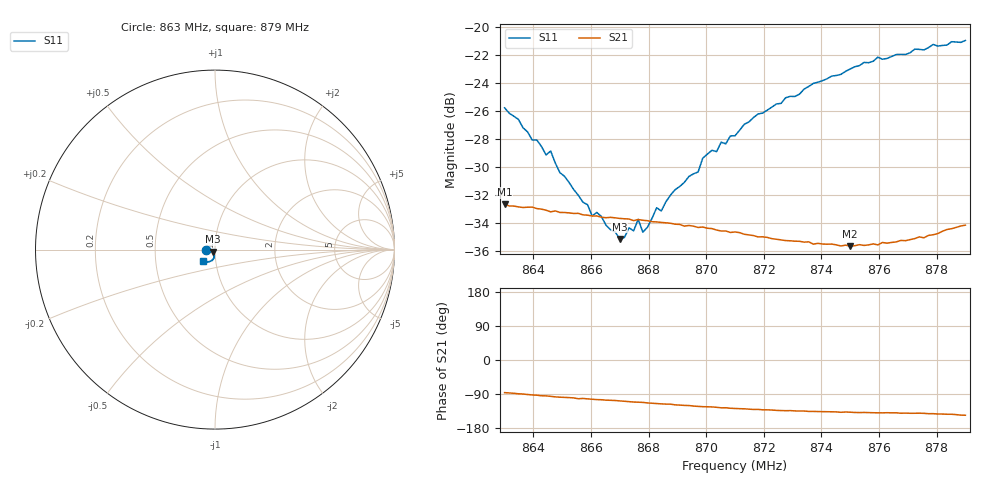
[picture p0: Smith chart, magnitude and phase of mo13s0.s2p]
# HZ S RI R 50
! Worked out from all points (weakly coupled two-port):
!   101 points, 863 MHz to 879 MHz, reference 50 ohm
!   highest |S21| = -32.64 dB at 863 MHz (marker M1); lowest = -35.6 dB at 875 MHz (marker M2)
!   lowest |S11| = -35.1 dB at 867 MHz (marker M3), VSWR 1.04, Z = 48.7 - j1.11 ohm
!   |S11| at or under -10 dB: start of sweep to end of sweep
!   S12 and S22 are empty: the file has one direction only
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8.63e8  -0.0513 -0.00373  0.00158 -0.0233  0 0  0 0
8.6444e8  -0.0349 -0.00206  -0.0018 -0.0221  0 0  0 0
8.646e8  -0.0359 -0.00375  -0.00224 -0.0218  0 0  0 0
8.6492e8  -0.03 -0.004  -0.00309 -0.0216  0 0  0 0
8.6572e8  -0.0228 -0.0067  -0.00426 -0.021  0 0  0 0
8.6604e8  -0.0202 -0.00651  -0.00497 -0.0206  0 0  0 0
8.67e8  -0.0133 -0.0115  -0.00642 -0.0197  0 0  0 0
8.6732e8  -0.0127 -0.0144  -0.00703 -0.0194  0 0  0 0
8.6748e8  -0.0105 -0.0156  -0.00727 -0.0191  0 0  0 0
8.6764e8  -0.0123 -0.0166  -0.00749 -0.0192  0 0  0 0
8.678e8  -0.00993 -0.0157  -0.00764 -0.019  0 0  0 0
8.6828e8  -0.00809 -0.0212  -0.0085 -0.0183  0 0  0 0
8.6844e8  -0.00627 -0.0212  -0.00874 -0.0181  0 0  0 0
8.6892e8  -0.00588 -0.0256  -0.00942 -0.0174  0 0  0 0
8.6972e8  -0.00342 -0.0302  -0.0103 -0.0163  0 0  0 0
8.6988e8  -0.00413 -0.0338  -0.0106 -0.0162  0 0  0 0
8.71e8  -0.00422 -0.0407  -0.0114 -0.0147  0 0  0 0
8.718e8  -0.00788 -0.0483  -0.0115 -0.0136  0 0  0 0
8.7372e8  -0.0161 -0.0608  -0.012 -0.0118  0 0  0 0
8.75e8  -0.0272 -0.0654  -0.0122 -0.0111  0 0  0 0
8.7644e8  -0.0404 -0.0672  -0.013 -0.0111  0 0  0 0
8.79e8  -0.0651 -0.0614  -0.0162 -0.011  0 0  0 0
